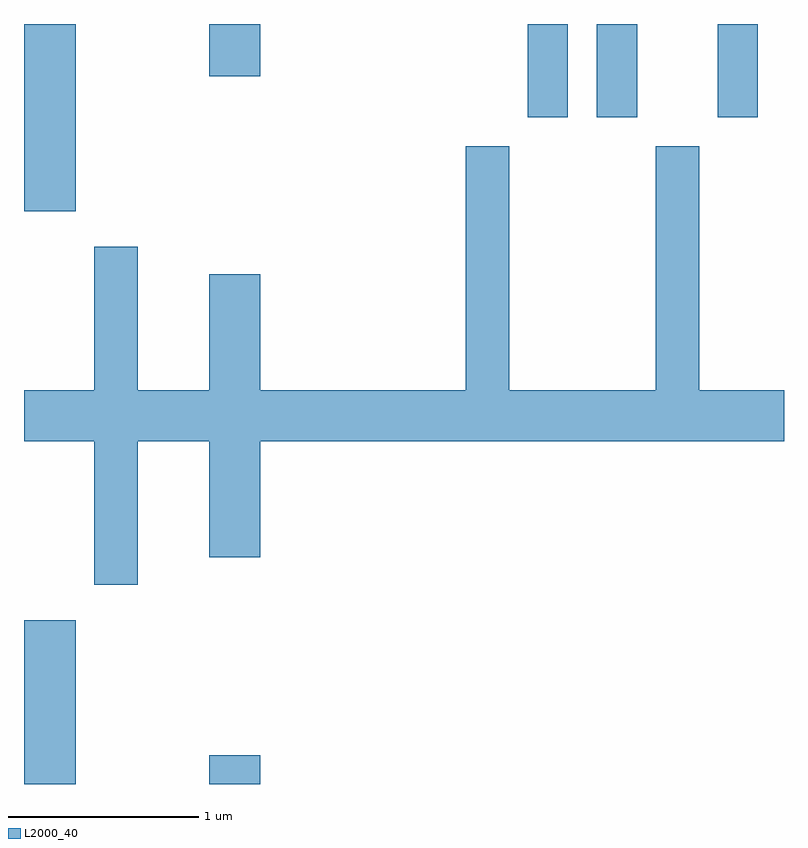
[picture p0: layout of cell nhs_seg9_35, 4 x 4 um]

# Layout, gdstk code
import gdstk
lib = gdstk.Library(unit=1e-6, precision=1e-09)
def R(c, l, rs):  # rectangles x0, y0, x1, y1
    for r in rs: c.add(gdstk.rectangle(r[:2], r[2:], *l))
def P(c, l, *ps):  # polygons
    for p in ps: c.add(gdstk.Polygon(p, *l))
L2000_40 = (2000, 40)

nhs_seg9_35 = lib.new_cell('nhs_seg9_35')
R(nhs_seg9_35, L2000_40, [(185.611,2014.432,185.884,2015.294), (186.586,2014.432,186.854,2014.584), (185.611,2017.446,185.884,2018.432), (188.261,2017.941,188.474,2018.432), (188.626,2017.941,188.839,2018.432), (189.261,2017.941,189.474,2018.432), (186.586,2018.156,186.854,2018.432)])
P(nhs_seg9_35, L2000_40, [(186.209,2016.236),(186.586,2016.236),(186.586,2015.626),(186.854,2015.626),(186.854,2016.236),(189.611,2016.236),(189.611,2016.504),(189.164,2016.504),(189.164,2017.789),(188.936,2017.789),(188.936,2016.504),(188.164,2016.504),(188.164,2017.789),(187.936,2017.789),(187.936,2016.504),(186.854,2016.504),(186.854,2017.114),(186.586,2017.114),(186.586,2016.504),(186.209,2016.504),(186.209,2017.259),(185.981,2017.259),(185.981,2016.504),(185.611,2016.504),(185.611,2016.236),(185.981,2016.236),(185.981,2015.481),(186.209,2015.481)])

lib.write_gds('nhs_seg9_35.gds')
